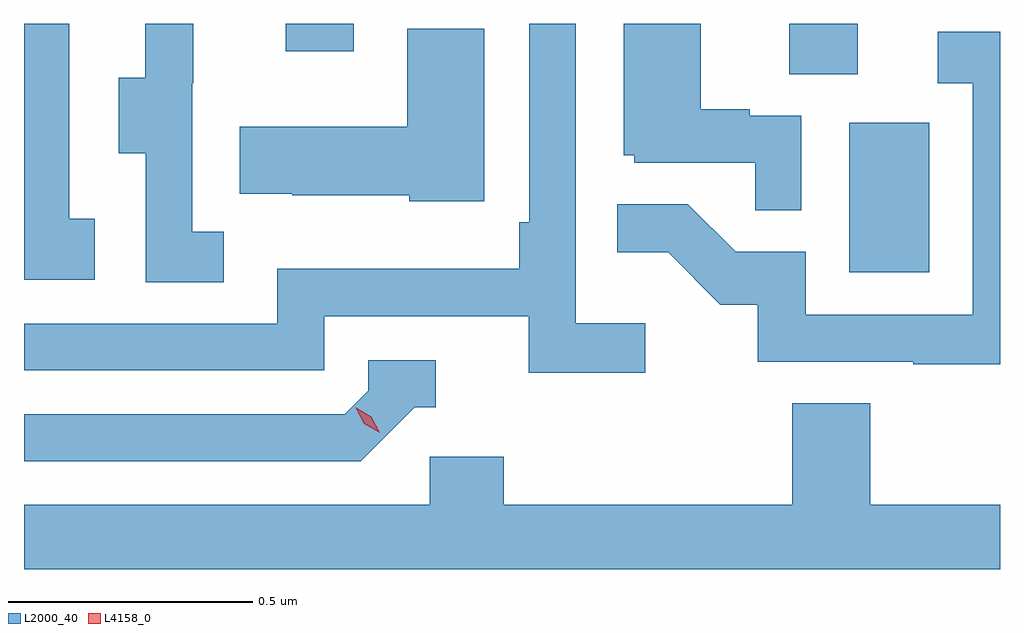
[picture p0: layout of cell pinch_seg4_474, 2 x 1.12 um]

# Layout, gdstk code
import gdstk
lib = gdstk.Library(unit=1e-6, precision=1e-09)
def R(c, l, rs):  # rectangles x0, y0, x1, y1
    for r in rs: c.add(gdstk.rectangle(r[:2], r[2:], *l))
def P(c, l, *ps):  # polygons
    for p in ps: c.add(gdstk.Polygon(p, *l))
L2000_40 = (2000, 40)
L4158_0 = (4158, 0)

pinch_seg4_474 = lib.new_cell('pinch_seg4_474')
R(pinch_seg4_474, L2000_40, [(895.52,749.508,895.684,749.815), (895.397,749.914,895.537,750.017), (894.365,749.961,894.505,750.017)])
P(pinch_seg4_474, L2000_40, [(895.102,749.404),(894.96,749.404),(894.96,750.017),(894.864,750.017),(894.864,749.611),(894.844,749.611),(894.844,749.515),(894.348,749.515),(894.348,749.403),(893.829,749.403),(893.829,749.307),(894.444,749.307),(894.444,749.418),(894.863,749.418),(894.863,749.302),(895.102,749.302)],
  [(894.238,749.591),(894.174,749.591),(894.174,749.895),(894.176,749.895),(894.176,750.017),(894.077,750.017),(894.077,749.907),(894.023,749.907),(894.023,749.752),(894.078,749.752),(894.078,749.488),(894.238,749.488)],
  [(893.974,749.618),(893.922,749.618),(893.922,750.017),(893.829,750.017),(893.829,749.493),(893.974,749.493)],
  [(895.422,749.829),(895.316,749.829),(895.316,749.842),(895.216,749.842),(895.216,750.017),(895.058,750.017),(895.058,749.748),(895.08,749.748),(895.08,749.733),(895.327,749.733),(895.327,749.635),(895.422,749.635)],
  [(894.772,750.007),(894.614,750.007),(894.614,749.806),(894.271,749.806),(894.271,749.669),(894.379,749.669),(894.379,749.666),(894.618,749.666),(894.618,749.654),(894.772,749.654)],
  [(895.829,750.001),(895.701,750.001),(895.701,749.895),(895.773,749.895),(895.773,749.421),(895.431,749.421),(895.431,749.55),(895.287,749.55),(895.189,749.648),(895.045,749.648),(895.045,749.549),(895.149,749.549),(895.256,749.442),(895.333,749.442),(895.333,749.325),(895.651,749.325),(895.651,749.32),(895.829,749.32)],
  [(894.63,749.232),(894.673,749.232),(894.673,749.328),(894.534,749.328),(894.534,749.265),(894.486,749.217),(893.829,749.217),(893.829,749.121),(894.519,749.121)],
  [(895.829,749.032),(895.563,749.032),(895.563,749.24),(895.403,749.24),(895.403,749.032),(894.812,749.032),(894.812,749.13),(894.66,749.13),(894.66,749.032),(893.829,749.032),(893.829,748.9),(895.829,748.9)])
P(pinch_seg4_474, L4158_0, [(894.558,749.179),(894.526,749.198),(894.509,749.231),(894.509,749.231),(894.51,749.231),(894.541,749.212),(894.558,749.179),(894.558,749.179)])

lib.write_gds('pinch_seg4_474.gds')
